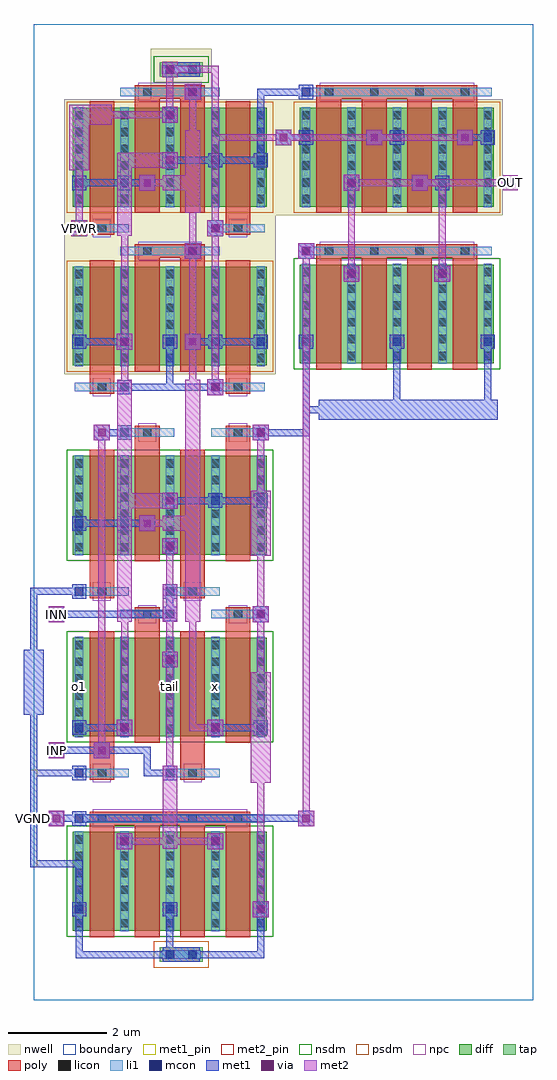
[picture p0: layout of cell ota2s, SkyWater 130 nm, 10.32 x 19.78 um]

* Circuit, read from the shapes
.subckt ota2s INN INP OUT VBN VGND VPWR o1 tail x
XM1 tail VBN VGND VGND sky130_fd_pr__nfet_01v8 w=2 l=0.5 m=4
XM2 o1 VGND o1 VGND sky130_fd_pr__nfet_01v8 w=2 l=0.5 m=2
XM3 x VGND x VGND sky130_fd_pr__nfet_01v8 w=2 l=0.5 m=2
XM4 tail INN o1 VGND sky130_fd_pr__nfet_01v8 w=2 l=0.5 m=2
XM5 tail INP x VGND sky130_fd_pr__nfet_01v8 w=2 l=0.5 m=2
XM6 OUT VBN VGND VGND sky130_fd_pr__nfet_01v8 w=2 l=0.5 m=4
XM7 o1 VPWR o1 VPWR sky130_fd_pr__pfet_01v8 w=2 l=0.5 m=2
XM8 x VPWR x VPWR sky130_fd_pr__pfet_01v8 w=2 l=0.5 m=2
XM9 VPWR x o1 VPWR sky130_fd_pr__pfet_01v8 w=2 l=0.5 m=2
XM10 VPWR x x VPWR sky130_fd_pr__pfet_01v8 w=2 l=0.5 m=2
XM11 OUT o1 VPWR VPWR sky130_fd_pr__pfet_01v8 w=2 l=0.5 m=4
.ends

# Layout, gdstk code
import gdstk
lib = gdstk.Library(unit=1e-6, precision=1e-09)
def R(c, l, rs):  # rectangles x0, y0, x1, y1
    for r in rs: c.add(gdstk.rectangle(r[:2], r[2:], *l))
def A(c, l, x, y, w, h, nx, ny, dx, dy):  # array of equal rectangles
    R(c, l, [(x+i*dx, y+j*dy, x+i*dx+w, y+j*dy+h) for i in range(nx) for j in range(ny)])
nwell = (64, 20)
diff = (65, 20)
tap = (65, 44)
poly = (66, 20)
licon = (66, 44)
li1 = (67, 20)
mcon = (67, 44)
met1_pin = (68, 16)
met1 = (68, 20)
via = (68, 44)
met2_pin = (69, 16)
met2 = (69, 20)
nsdm = (93, 44)
psdm = (94, 20)
npc = (95, 20)
boundary = (235, 4)

ota2s = lib.new_cell('ota2s')
R(ota2s, nwell, [(0.615,12.68,4.905,15.9), (0.615,15.9,9.505,18.26), (2.375,18.26,3.605,19.28)])
R(ota2s, diff, [(0.795,1.405,4.725,3.405), (0.795,5.345,4.725,7.345), (0.795,9.025,4.725,11.025), (0.795,12.86,4.725,14.86), (5.395,12.905,9.325,14.905), (0.795,16.08,4.725,18.08), (5.395,16.08,9.325,18.08)])
R(ota2s, tap, [(2.555,0.775,3.425,1.065), (2.555,18.715,3.425,19.005)])
A(ota2s, poly, 1.13, 1.275, 0.5, 2.405, 4, 1, 0.92, 0)
A(ota2s, poly, 5.73, 12.775, 0.5, 2.405, 4, 1, 0.92, 0)
A(ota2s, poly, 5.73, 15.95, 0.5, 2.45, 4, 1, 0.92, 0)
R(ota2s, poly, [(1.13,3.545,4.39,3.815), (1.13,4.465,1.63,4.735), (2.97,4.465,3.47,4.735), (1.13,4.6,1.63,7.475), (2.97,4.6,3.47,7.475), (2.05,5.215,2.55,7.82), (3.89,5.215,4.39,7.82), (2.05,7.685,2.55,7.955), (3.89,7.685,4.39,7.955), (1.13,8.145,1.63,8.415), (2.97,8.145,3.47,8.415), (1.13,8.28,1.63,11.155), (2.97,8.28,3.47,11.155), (2.05,8.895,2.55,11.5), (3.89,8.895,4.39,11.5), (2.05,11.365,2.55,11.635), (3.89,11.365,4.39,11.635), (1.13,12.285,1.63,12.555), (3.89,12.285,4.39,12.555), (1.13,12.42,1.63,14.99), (3.89,12.42,4.39,14.99), (2.05,12.73,2.55,15.18), (2.97,12.73,3.47,15.18), (2.05,15.045,3.47,15.315), (5.73,15.045,8.99,15.315), (1.13,15.505,1.63,15.775), (3.89,15.505,4.39,15.775), (1.13,15.64,1.63,18.21), (3.89,15.64,4.39,18.21), (2.05,15.95,2.55,18.4), (2.97,15.95,3.47,18.4), (2.05,18.265,3.47,18.535), (5.73,18.265,8.99,18.535)])
A(ota2s, licon, 3.135, 0.835, 0.17, 0.17, 1, 3, 0, 3.68)
A(ota2s, licon, 0.835, 1.47, 0.17, 0.17, 5, 6, 0.92, 0.34)
A(ota2s, licon, 1.295, 3.595, 0.17, 0.17, 4, 1, 0.92, 0)
A(ota2s, licon, 0.835, 5.41, 0.17, 0.17, 5, 6, 0.92, 0.34)
A(ota2s, licon, 2.215, 7.735, 0.17, 0.17, 1, 3, 0, 3.68)
A(ota2s, licon, 0.835, 9.09, 0.17, 0.17, 5, 6, 0.92, 0.34)
A(ota2s, licon, 0.835, 12.925, 0.17, 0.17, 5, 6, 0.92, 0.34)
A(ota2s, licon, 5.435, 12.97, 0.17, 0.17, 5, 6, 0.92, 0.34)
A(ota2s, licon, 5.895, 15.095, 0.17, 0.17, 4, 2, 0.92, 3.22)
A(ota2s, licon, 0.835, 16.145, 0.17, 0.17, 10, 6, 0.92, 0.34)
R(ota2s, licon, [(2.675,0.835,2.845,1.005), (1.295,4.515,1.465,4.685), (4.055,7.735,4.225,7.905), (1.295,8.195,1.465,8.365), (4.055,11.415,4.225,11.585), (1.295,12.335,1.465,12.505), (4.055,12.335,4.225,12.505), (3.135,15.095,3.305,15.265), (1.295,15.555,1.465,15.725), (4.055,15.555,4.225,15.725), (2.215,18.315,2.385,18.485), (3.135,18.315,3.305,18.485), (2.675,18.775,2.845,18.945), (3.135,18.775,3.305,18.945)])
A(ota2s, li1, 0.835, 1.39, 0.17, 2.03, 5, 2, 0.92, 3.94)
A(ota2s, li1, 0.835, 9.01, 0.17, 2.03, 5, 2, 0.92, 3.835)
A(ota2s, li1, 5.435, 12.89, 0.17, 2.03, 5, 1, 0.92, 0)
A(ota2s, li1, 0.835, 16.065, 0.17, 2.03, 10, 1, 0.92, 0)
R(ota2s, li1, [(2.595,0.835,3.385,1.005), (0.835,3.595,4.685,3.765), (0.835,4.515,1.925,4.685), (2.675,4.515,3.765,4.685), (1.755,7.735,2.845,7.905), (3.595,7.735,4.685,7.905), (0.835,8.195,1.925,8.365), (2.675,8.195,3.765,8.365), (1.755,11.415,2.845,11.585), (3.595,11.415,4.685,11.585), (0.835,12.335,1.925,12.505), (3.595,12.335,4.685,12.505), (1.755,15.095,3.765,15.265), (5.435,15.095,9.285,15.265), (0.835,15.555,1.925,15.725), (3.595,15.555,4.685,15.725), (1.755,18.315,3.765,18.485), (5.435,18.315,9.285,18.485), (2.595,18.775,3.385,18.945)])
A(ota2s, mcon, 0.835, 1.755, 0.17, 0.17, 3, 1, 1.84, 0)
A(ota2s, mcon, 0.835, 3.595, 0.17, 0.17, 1, 3, 0, 0.92)
A(ota2s, mcon, 4.515, 5.435, 0.17, 0.17, 1, 3, 0, 2.3)
A(ota2s, mcon, 0.835, 13.255, 0.17, 0.17, 6, 1, 0.92, 0)
A(ota2s, mcon, 5.435, 17.395, 0.17, 0.17, 3, 1, 1.84, 0)
R(ota2s, mcon, [(2.675,0.835,2.845,1.005), (3.135,0.835,3.305,1.005), (1.755,3.135,1.925,3.305), (3.595,3.135,3.765,3.305), (2.675,4.515,2.845,4.685), (1.755,5.435,1.925,5.605), (3.595,5.435,3.765,5.605), (2.675,6.815,2.845,6.985), (2.675,7.735,2.845,7.905), (0.835,8.195,1.005,8.365), (2.675,8.195,2.845,8.365), (2.675,9.115,2.845,9.285), (0.835,9.575,1.005,9.745), (1.755,9.575,1.925,9.745), (3.595,10.035,3.765,10.205), (1.755,11.415,1.925,11.585), (4.515,11.415,4.685,11.585), (1.755,12.335,1.925,12.505), (3.595,12.335,3.765,12.505), (7.275,13.255,7.445,13.425), (9.115,13.255,9.285,13.425), (6.355,14.635,6.525,14.805), (8.195,14.635,8.365,14.805), (3.135,15.095,3.305,15.265), (5.435,15.095,5.605,15.265), (0.835,15.555,1.005,15.725), (3.595,15.555,3.765,15.725), (0.835,16.475,1.005,16.645), (1.755,16.475,1.925,16.645), (6.355,16.475,6.525,16.645), (8.195,16.475,8.365,16.645), (3.595,16.935,3.765,17.105), (4.515,16.935,4.685,17.105), (2.675,17.855,2.845,18.025), (3.135,18.315,3.305,18.485), (5.435,18.315,5.605,18.485), (2.675,18.775,2.845,18.945), (3.135,18.775,3.305,18.945)])
R(ota2s, met1_pin, [(-0.07,2.69,0.07,4.67), (0.775,15.495,1.065,15.785)])
A(ota2s, met1, 0.85, 0.85, 0.14, 1.06, 3, 1, 1.84, 0)
A(ota2s, met1, 0.775, 1.695, 0.29, 0.29, 3, 1, 1.84, 0)
A(ota2s, met1, 0.775, 3.535, 0.29, 0.29, 1, 3, 0, 0.92)
A(ota2s, met1, 4.455, 5.375, 0.29, 0.29, 1, 3, 0, 2.3)
A(ota2s, met1, 0.775, 13.195, 0.29, 0.29, 6, 1, 0.92, 0)
A(ota2s, met1, 2.6, 16.86, 0.32, 0.32, 1, 3, 0, 0.92)
A(ota2s, met1, 4.9, 17.32, 0.32, 0.32, 3, 1, 1.84, 0)
A(ota2s, met1, 5.375, 17.335, 0.29, 0.29, 3, 1, 1.84, 0)
A(ota2s, met1, 4.99, 17.41, 0.6, 0.14, 3, 1, 1.84, 0)
R(ota2s, met1, [(2.615,0.775,3.365,1.065), (0.85,0.85,2.83,0.99), (2.69,0.85,4.67,0.99), (2.69,0.85,2.83,0.99), (4.44,1.68,4.76,2), (0.85,1.77,0.99,2.83), (-0.07,2.69,0.99,2.83), (-0.07,2.69,0.07,4.67), (1.68,3.06,2,3.38), (3.52,3.06,3.84,3.38), (1.695,3.075,1.985,3.365), (3.535,3.075,3.825,3.365), (0.3,3.52,0.62,3.84), (5.36,3.52,5.68,3.84), (0.39,3.61,0.99,3.75), (0.85,3.61,5.59,3.75), (2.615,4.455,2.905,4.745), (-0.07,4.53,0.99,4.67), (-0.07,4.53,0.07,6.05), (2.23,4.53,2.83,4.67), (2.23,4.53,2.37,5.13), (0.3,4.9,0.62,5.22), (1.22,4.9,1.54,5.22), (0.39,4.99,2.37,5.13), (1.68,5.36,2,5.68), (3.52,5.36,3.84,5.68), (1.695,5.375,1.985,5.665), (3.535,5.375,3.825,5.665), (0.85,5.45,1.91,5.59), (3.61,5.45,4.67,5.59), (-0.2,5.78,0.2,7.1), (2.6,6.74,2.92,7.06), (2.615,6.755,2.905,7.045), (-0.07,6.83,0.07,8.35), (0.3,7.66,0.62,7.98), (4.44,7.66,4.76,7.98), (2.615,7.675,2.905,7.965), (0.39,7.75,2.83,7.89), (2.69,7.75,2.83,8.35), (0.775,8.135,1.065,8.425), (2.615,8.135,2.905,8.425), (-0.07,8.21,0.99,8.35), (2.6,9.04,2.92,9.36), (2.615,9.055,2.905,9.345), (2.14,9.5,2.46,9.82), (0.775,9.515,1.065,9.805), (1.695,9.515,1.985,9.805), (0.85,9.59,1.91,9.73), (1.77,9.59,2.37,9.73), (2.6,9.96,2.92,10.28), (3.535,9.975,3.825,10.265), (2.69,10.05,3.75,10.19), (3.61,10.05,4.67,10.19), (1.22,11.34,1.54,11.66), (4.44,11.34,4.76,11.66), (1.695,11.355,1.985,11.645), (4.455,11.355,4.745,11.645), (1.31,11.43,1.91,11.57), (4.53,11.43,5.59,11.57), (5.45,11.43,5.59,13.41), (5.78,11.76,7.56,12.16), (7.16,11.76,9.4,12.16), (5.45,11.89,6.05,12.03), (7.29,11.89,7.43,13.41), (9.13,11.89,9.27,13.41), (3.52,12.26,3.84,12.58), (1.695,12.275,1.985,12.565), (3.535,12.275,3.825,12.565), (1.77,12.35,2.83,12.49), (2.69,12.35,3.75,12.49), (2.69,12.35,2.83,13.41), (1.68,13.18,2,13.5), (3.06,13.18,3.38,13.5), (7.215,13.195,7.505,13.485), (9.055,13.195,9.345,13.485), (0.85,13.27,1.91,13.41), (3.15,13.27,3.75,13.41), (3.61,13.27,4.67,13.41), (6.28,14.56,6.6,14.88), (8.12,14.56,8.44,14.88), (6.295,14.575,6.585,14.865), (8.135,14.575,8.425,14.865), (3.06,15.02,3.38,15.34), (5.36,15.02,5.68,15.34), (3.075,15.035,3.365,15.325), (5.375,15.035,5.665,15.325), (0.76,15.48,1.08,15.8), (3.52,15.48,3.84,15.8), (0.775,15.495,1.065,15.785), (3.535,15.495,3.825,15.785), (2.14,16.4,2.46,16.72), (6.28,16.4,6.6,16.72), (7.66,16.4,7.98,16.72), (0.775,16.415,1.065,16.705), (1.695,16.415,1.985,16.705), (6.295,16.415,6.585,16.705), (8.135,16.415,8.425,16.705), (0.85,16.49,1.91,16.63), (1.77,16.49,2.37,16.63), (7.75,16.49,8.35,16.63), (3.535,16.875,3.825,17.165), (4.455,16.875,4.745,17.165), (2.69,16.95,3.75,17.09), (3.61,16.95,4.67,17.09), (4.53,16.95,4.67,18.47), (2.615,17.795,2.905,18.085), (3.06,18.24,3.38,18.56), (3.075,18.255,3.365,18.545), (5.375,18.255,5.665,18.545), (4.53,18.33,5.59,18.47), (2.615,18.715,3.365,19.005), (2.69,18.79,2.83,18.93)])
A(ota2s, via, 2.685, 16.945, 0.15, 0.15, 1, 3, 0, 0.92)
A(ota2s, via, 4.985, 17.405, 0.15, 0.15, 3, 1, 1.84, 0)
R(ota2s, via, [(4.525,1.765,4.675,1.915), (1.765,3.145,1.915,3.295), (3.605,3.145,3.755,3.295), (0.385,3.605,0.535,3.755), (5.445,3.605,5.595,3.755), (0.385,4.985,0.535,5.135), (1.305,4.985,1.455,5.135), (1.765,5.445,1.915,5.595), (3.605,5.445,3.755,5.595), (2.685,6.825,2.835,6.975), (0.385,7.745,0.535,7.895), (4.525,7.745,4.675,7.895), (2.685,9.125,2.835,9.275), (2.225,9.585,2.375,9.735), (2.685,10.045,2.835,10.195), (1.305,11.425,1.455,11.575), (4.525,11.425,4.675,11.575), (3.605,12.345,3.755,12.495), (1.765,13.265,1.915,13.415), (3.145,13.265,3.295,13.415), (6.365,14.645,6.515,14.795), (8.205,14.645,8.355,14.795), (3.145,15.105,3.295,15.255), (5.445,15.105,5.595,15.255), (0.845,15.565,0.995,15.715), (3.605,15.565,3.755,15.715), (2.225,16.485,2.375,16.635), (6.365,16.485,6.515,16.635), (7.745,16.485,7.895,16.635), (3.145,18.325,3.295,18.475)])
R(ota2s, met2_pin, [(0.31,3.53,0.61,3.83), (0.31,4.91,0.61,5.21), (0.31,7.67,0.61,7.97), (9.51,16.41,9.81,16.71)])
A(ota2s, met2, 2.6, 16.86, 0.32, 0.32, 1, 3, 0, 0.92)
A(ota2s, met2, 4.9, 17.32, 0.32, 0.32, 3, 1, 1.84, 0)
R(ota2s, met2, [(4.44,1.68,4.76,2), (4.53,1.77,4.67,4.67), (1.68,3.06,2,3.38), (3.52,3.06,3.84,3.38), (2.61,3.07,2.91,4.75), (1.77,3.15,2.83,3.29), (2.69,3.15,3.75,3.29), (0.3,3.52,0.62,3.84), (5.36,3.52,5.68,3.84), (0.31,3.53,0.61,3.83), (0.39,3.61,0.53,3.75), (5.45,3.61,5.59,15.25), (4.4,4.4,4.8,6.64), (2.69,4.53,2.83,6.97), (0.3,4.9,0.62,5.22), (1.22,4.9,1.54,5.22), (0.31,4.91,0.61,5.21), (0.39,4.99,0.53,5.13), (1.31,4.99,1.45,11.57), (1.68,5.36,2,5.68), (3.52,5.36,3.84,5.68), (1.77,5.45,1.91,7.89), (3.15,5.45,3.29,7.89), (3.15,5.45,3.75,5.59), (4.53,6.37,4.67,7.89), (2.6,6.74,2.92,7.06), (2.69,6.83,2.83,7.89), (0.3,7.66,0.62,7.98), (4.44,7.66,4.76,7.98), (0.31,7.67,0.61,7.97), (1.69,7.67,1.99,12.57), (2.61,7.67,2.91,8.43), (3.07,7.67,3.37,9.81), (0.39,7.75,0.53,7.89), (4.53,7.75,4.67,9.27), (2.69,8.21,2.83,9.27), (4.4,9,4.8,10.32), (2.6,9.04,2.92,9.36), (2.14,9.5,2.46,9.82), (2.61,9.51,3.37,9.81), (3.07,9.51,3.37,12.57), (2.23,9.59,2.83,9.73), (2.6,9.96,2.92,10.28), (1.69,9.97,2.91,10.27), (4.53,10.05,4.67,11.57), (1.22,11.34,1.54,11.66), (4.44,11.34,4.76,11.66), (3.52,12.26,3.84,12.58), (1.77,12.35,1.91,13.41), (3.15,12.35,3.29,13.41), (3.61,12.35,3.75,15.71), (1.68,13.18,2,13.5), (3.06,13.18,3.38,13.5), (1.77,13.27,1.91,15.71), (3.15,13.27,3.29,15.25), (6.28,14.56,6.6,14.88), (8.12,14.56,8.44,14.88), (6.37,14.65,6.51,16.63), (8.21,14.65,8.35,16.63), (3.06,15.02,3.38,15.34), (5.36,15.02,5.68,15.34), (3.15,15.11,3.29,16.17), (0.76,15.48,1.08,15.8), (3.52,15.48,3.84,15.8), (1.69,15.49,1.99,17.17), (0.85,15.57,0.99,17.09), (3.61,15.57,3.75,18.93), (3.07,15.95,3.37,17.63), (2.14,16.4,2.46,16.72), (6.28,16.4,6.6,16.72), (7.66,16.4,7.98,16.72), (2.61,16.41,3.37,16.71), (9.51,16.41,9.81,16.71), (2.23,16.49,2.83,16.63), (6.37,16.49,7.89,16.63), (7.75,16.49,9.73,16.63), (9.59,16.49,9.73,16.63), (0.72,16.82,1.12,18.14), (1.69,16.87,2.91,17.17), (3.15,17.41,3.29,18.47), (3.61,17.41,5.13,17.55), (4.99,17.41,6.97,17.55), (6.83,17.41,8.81,17.55), (0.72,17.74,1.58,18.14), (1.31,17.87,2.83,18.01), (2.69,17.87,2.83,18.93), (3.06,18.24,3.38,18.56), (2.69,18.79,3.75,18.93)])
R(ota2s, nsdm, [(0.67,1.28,4.85,3.53), (0.67,5.22,4.85,7.47), (0.67,8.9,4.85,11.15), (5.27,12.78,9.45,15.03), (2.43,18.59,3.55,19.13)])
R(ota2s, psdm, [(2.43,0.65,3.55,1.19), (0.67,12.735,4.85,14.985), (0.67,15.955,4.85,18.205), (5.27,15.955,9.45,18.205)])
R(ota2s, npc, [(1.195,3.495,4.325,3.865), (1.195,4.415,1.565,4.785), (3.035,4.415,3.405,4.785), (2.115,7.635,2.485,8.005), (3.955,7.635,4.325,8.005), (1.195,8.095,1.565,8.465), (3.035,8.095,3.405,8.465), (2.115,11.315,2.485,11.685), (3.955,11.315,4.325,11.685), (1.195,12.235,1.565,12.605), (3.955,12.235,4.325,12.605), (2.115,14.995,3.405,15.365), (5.795,14.995,8.925,15.365), (1.195,15.455,1.565,15.825), (3.955,15.455,4.325,15.825), (2.115,18.215,3.405,18.585), (5.795,18.215,8.925,18.585)])
R(ota2s, boundary, [(0,0,10.12,19.78)])
ota2s.add(gdstk.Label('o1', (0.92,6.345), layer=67, texttype=5))
ota2s.add(gdstk.Label('tail', (2.76,6.345), layer=67, texttype=5))
ota2s.add(gdstk.Label('x', (3.68,6.345), layer=67, texttype=5))
ota2s.add(gdstk.Label('VPWR', (0.92,15.64), layer=68, texttype=5))
ota2s.add(gdstk.Label('VGND', (0,3.68), layer=68, texttype=5))
ota2s.add(gdstk.Label('INP', (0.46,5.06), layer=69, texttype=5))
ota2s.add(gdstk.Label('INN', (0.46,7.82), layer=69, texttype=5))
ota2s.add(gdstk.Label('VBN', (0.46,3.68), layer=69, texttype=5))
ota2s.add(gdstk.Label('OUT', (9.66,16.56), layer=69, texttype=5))
ota2s.add(gdstk.Label('VPWR', (0.92,15.64), layer=68, texttype=16))
ota2s.add(gdstk.Label('VGND', (0,3.68), layer=68, texttype=16))
ota2s.add(gdstk.Label('INP', (0.46,5.06), layer=69, texttype=16))
ota2s.add(gdstk.Label('INN', (0.46,7.82), layer=69, texttype=16))
ota2s.add(gdstk.Label('VBN', (0.46,3.68), layer=69, texttype=16))
ota2s.add(gdstk.Label('OUT', (9.66,16.56), layer=69, texttype=16))

lib.write_gds('ota2s.gds')
